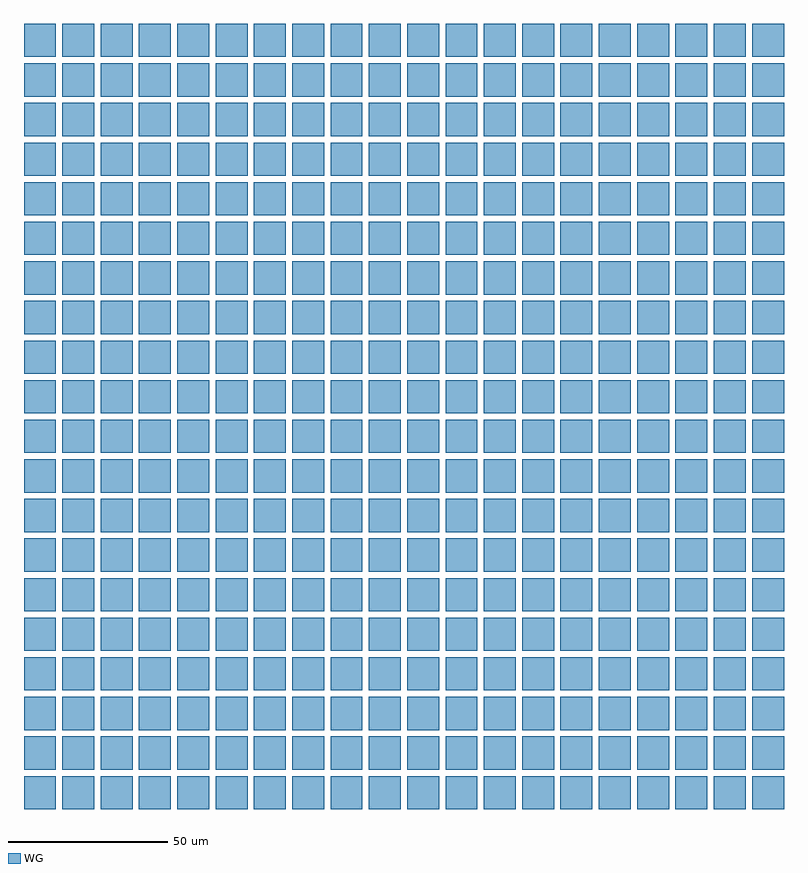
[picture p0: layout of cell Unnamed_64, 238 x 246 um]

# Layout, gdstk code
import gdstk
lib = gdstk.Library(unit=1e-6, precision=1e-09)
def R(c, l, rs):  # rectangles x0, y0, x1, y1
    for r in rs: c.add(gdstk.rectangle(r[:2], r[2:], *l))
WG = (1, 0)

rectangle_s10_10p4_l1_0_ = lib.new_cell('rectangle_S10_10p4_L1_0_93902f6c')
R(rectangle_s10_10p4_l1_0_, WG, [(0,0,10,10.4)])

unnamed_64 = lib.new_cell('Unnamed_64')
unnamed_64.add(gdstk.Reference(rectangle_s10_10p4_l1_0_, (1153.846,2)))
unnamed_64.add(gdstk.Reference(rectangle_s10_10p4_l1_0_, (1165.846,2)))
unnamed_64.add(gdstk.Reference(rectangle_s10_10p4_l1_0_, (1177.846,2)))
unnamed_64.add(gdstk.Reference(rectangle_s10_10p4_l1_0_, (1189.846,2)))
unnamed_64.add(gdstk.Reference(rectangle_s10_10p4_l1_0_, (1201.846,2)))
unnamed_64.add(gdstk.Reference(rectangle_s10_10p4_l1_0_, (1213.846,2)))
unnamed_64.add(gdstk.Reference(rectangle_s10_10p4_l1_0_, (1225.846,2)))
unnamed_64.add(gdstk.Reference(rectangle_s10_10p4_l1_0_, (1237.846,2)))
unnamed_64.add(gdstk.Reference(rectangle_s10_10p4_l1_0_, (1249.846,2)))
unnamed_64.add(gdstk.Reference(rectangle_s10_10p4_l1_0_, (1261.846,2)))
unnamed_64.add(gdstk.Reference(rectangle_s10_10p4_l1_0_, (1273.846,2)))
unnamed_64.add(gdstk.Reference(rectangle_s10_10p4_l1_0_, (1285.846,2)))
unnamed_64.add(gdstk.Reference(rectangle_s10_10p4_l1_0_, (1297.846,2)))
unnamed_64.add(gdstk.Reference(rectangle_s10_10p4_l1_0_, (1309.846,2)))
unnamed_64.add(gdstk.Reference(rectangle_s10_10p4_l1_0_, (1321.846,2)))
unnamed_64.add(gdstk.Reference(rectangle_s10_10p4_l1_0_, (1333.846,2)))
unnamed_64.add(gdstk.Reference(rectangle_s10_10p4_l1_0_, (1345.846,2)))
unnamed_64.add(gdstk.Reference(rectangle_s10_10p4_l1_0_, (1357.846,2)))
unnamed_64.add(gdstk.Reference(rectangle_s10_10p4_l1_0_, (1369.846,2)))
unnamed_64.add(gdstk.Reference(rectangle_s10_10p4_l1_0_, (1381.846,2)))
unnamed_64.add(gdstk.Reference(rectangle_s10_10p4_l1_0_, (1153.846,14.4)))
unnamed_64.add(gdstk.Reference(rectangle_s10_10p4_l1_0_, (1165.846,14.4)))
unnamed_64.add(gdstk.Reference(rectangle_s10_10p4_l1_0_, (1177.846,14.4)))
unnamed_64.add(gdstk.Reference(rectangle_s10_10p4_l1_0_, (1189.846,14.4)))
unnamed_64.add(gdstk.Reference(rectangle_s10_10p4_l1_0_, (1201.846,14.4)))
unnamed_64.add(gdstk.Reference(rectangle_s10_10p4_l1_0_, (1213.846,14.4)))
unnamed_64.add(gdstk.Reference(rectangle_s10_10p4_l1_0_, (1225.846,14.4)))
unnamed_64.add(gdstk.Reference(rectangle_s10_10p4_l1_0_, (1237.846,14.4)))
unnamed_64.add(gdstk.Reference(rectangle_s10_10p4_l1_0_, (1249.846,14.4)))
unnamed_64.add(gdstk.Reference(rectangle_s10_10p4_l1_0_, (1261.846,14.4)))
unnamed_64.add(gdstk.Reference(rectangle_s10_10p4_l1_0_, (1273.846,14.4)))
unnamed_64.add(gdstk.Reference(rectangle_s10_10p4_l1_0_, (1285.846,14.4)))
unnamed_64.add(gdstk.Reference(rectangle_s10_10p4_l1_0_, (1297.846,14.4)))
unnamed_64.add(gdstk.Reference(rectangle_s10_10p4_l1_0_, (1309.846,14.4)))
unnamed_64.add(gdstk.Reference(rectangle_s10_10p4_l1_0_, (1321.846,14.4)))
unnamed_64.add(gdstk.Reference(rectangle_s10_10p4_l1_0_, (1333.846,14.4)))
unnamed_64.add(gdstk.Reference(rectangle_s10_10p4_l1_0_, (1345.846,14.4)))
unnamed_64.add(gdstk.Reference(rectangle_s10_10p4_l1_0_, (1357.846,14.4)))
unnamed_64.add(gdstk.Reference(rectangle_s10_10p4_l1_0_, (1369.846,14.4)))
unnamed_64.add(gdstk.Reference(rectangle_s10_10p4_l1_0_, (1381.846,14.4)))
unnamed_64.add(gdstk.Reference(rectangle_s10_10p4_l1_0_, (1153.846,26.8)))
unnamed_64.add(gdstk.Reference(rectangle_s10_10p4_l1_0_, (1165.846,26.8)))
unnamed_64.add(gdstk.Reference(rectangle_s10_10p4_l1_0_, (1177.846,26.8)))
unnamed_64.add(gdstk.Reference(rectangle_s10_10p4_l1_0_, (1189.846,26.8)))
unnamed_64.add(gdstk.Reference(rectangle_s10_10p4_l1_0_, (1201.846,26.8)))
unnamed_64.add(gdstk.Reference(rectangle_s10_10p4_l1_0_, (1213.846,26.8)))
unnamed_64.add(gdstk.Reference(rectangle_s10_10p4_l1_0_, (1225.846,26.8)))
unnamed_64.add(gdstk.Reference(rectangle_s10_10p4_l1_0_, (1237.846,26.8)))
unnamed_64.add(gdstk.Reference(rectangle_s10_10p4_l1_0_, (1249.846,26.8)))
unnamed_64.add(gdstk.Reference(rectangle_s10_10p4_l1_0_, (1261.846,26.8)))
unnamed_64.add(gdstk.Reference(rectangle_s10_10p4_l1_0_, (1273.846,26.8)))
unnamed_64.add(gdstk.Reference(rectangle_s10_10p4_l1_0_, (1285.846,26.8)))
unnamed_64.add(gdstk.Reference(rectangle_s10_10p4_l1_0_, (1297.846,26.8)))
unnamed_64.add(gdstk.Reference(rectangle_s10_10p4_l1_0_, (1309.846,26.8)))
unnamed_64.add(gdstk.Reference(rectangle_s10_10p4_l1_0_, (1321.846,26.8)))
unnamed_64.add(gdstk.Reference(rectangle_s10_10p4_l1_0_, (1333.846,26.8)))
unnamed_64.add(gdstk.Reference(rectangle_s10_10p4_l1_0_, (1345.846,26.8)))
unnamed_64.add(gdstk.Reference(rectangle_s10_10p4_l1_0_, (1357.846,26.8)))
unnamed_64.add(gdstk.Reference(rectangle_s10_10p4_l1_0_, (1369.846,26.8)))
unnamed_64.add(gdstk.Reference(rectangle_s10_10p4_l1_0_, (1381.846,26.8)))
unnamed_64.add(gdstk.Reference(rectangle_s10_10p4_l1_0_, (1153.846,39.2)))
unnamed_64.add(gdstk.Reference(rectangle_s10_10p4_l1_0_, (1165.846,39.2)))
unnamed_64.add(gdstk.Reference(rectangle_s10_10p4_l1_0_, (1177.846,39.2)))
unnamed_64.add(gdstk.Reference(rectangle_s10_10p4_l1_0_, (1189.846,39.2)))
unnamed_64.add(gdstk.Reference(rectangle_s10_10p4_l1_0_, (1201.846,39.2)))
unnamed_64.add(gdstk.Reference(rectangle_s10_10p4_l1_0_, (1213.846,39.2)))
unnamed_64.add(gdstk.Reference(rectangle_s10_10p4_l1_0_, (1225.846,39.2)))
unnamed_64.add(gdstk.Reference(rectangle_s10_10p4_l1_0_, (1237.846,39.2)))
unnamed_64.add(gdstk.Reference(rectangle_s10_10p4_l1_0_, (1249.846,39.2)))
unnamed_64.add(gdstk.Reference(rectangle_s10_10p4_l1_0_, (1261.846,39.2)))
unnamed_64.add(gdstk.Reference(rectangle_s10_10p4_l1_0_, (1273.846,39.2)))
unnamed_64.add(gdstk.Reference(rectangle_s10_10p4_l1_0_, (1285.846,39.2)))
unnamed_64.add(gdstk.Reference(rectangle_s10_10p4_l1_0_, (1297.846,39.2)))
unnamed_64.add(gdstk.Reference(rectangle_s10_10p4_l1_0_, (1309.846,39.2)))
unnamed_64.add(gdstk.Reference(rectangle_s10_10p4_l1_0_, (1321.846,39.2)))
unnamed_64.add(gdstk.Reference(rectangle_s10_10p4_l1_0_, (1333.846,39.2)))
unnamed_64.add(gdstk.Reference(rectangle_s10_10p4_l1_0_, (1345.846,39.2)))
unnamed_64.add(gdstk.Reference(rectangle_s10_10p4_l1_0_, (1357.846,39.2)))
unnamed_64.add(gdstk.Reference(rectangle_s10_10p4_l1_0_, (1369.846,39.2)))
unnamed_64.add(gdstk.Reference(rectangle_s10_10p4_l1_0_, (1381.846,39.2)))
unnamed_64.add(gdstk.Reference(rectangle_s10_10p4_l1_0_, (1153.846,51.6)))
unnamed_64.add(gdstk.Reference(rectangle_s10_10p4_l1_0_, (1165.846,51.6)))
unnamed_64.add(gdstk.Reference(rectangle_s10_10p4_l1_0_, (1177.846,51.6)))
unnamed_64.add(gdstk.Reference(rectangle_s10_10p4_l1_0_, (1189.846,51.6)))
unnamed_64.add(gdstk.Reference(rectangle_s10_10p4_l1_0_, (1201.846,51.6)))
unnamed_64.add(gdstk.Reference(rectangle_s10_10p4_l1_0_, (1213.846,51.6)))
unnamed_64.add(gdstk.Reference(rectangle_s10_10p4_l1_0_, (1225.846,51.6)))
unnamed_64.add(gdstk.Reference(rectangle_s10_10p4_l1_0_, (1237.846,51.6)))
unnamed_64.add(gdstk.Reference(rectangle_s10_10p4_l1_0_, (1249.846,51.6)))
unnamed_64.add(gdstk.Reference(rectangle_s10_10p4_l1_0_, (1261.846,51.6)))
unnamed_64.add(gdstk.Reference(rectangle_s10_10p4_l1_0_, (1273.846,51.6)))
unnamed_64.add(gdstk.Reference(rectangle_s10_10p4_l1_0_, (1285.846,51.6)))
unnamed_64.add(gdstk.Reference(rectangle_s10_10p4_l1_0_, (1297.846,51.6)))
unnamed_64.add(gdstk.Reference(rectangle_s10_10p4_l1_0_, (1309.846,51.6)))
unnamed_64.add(gdstk.Reference(rectangle_s10_10p4_l1_0_, (1321.846,51.6)))
unnamed_64.add(gdstk.Reference(rectangle_s10_10p4_l1_0_, (1333.846,51.6)))
unnamed_64.add(gdstk.Reference(rectangle_s10_10p4_l1_0_, (1345.846,51.6)))
unnamed_64.add(gdstk.Reference(rectangle_s10_10p4_l1_0_, (1357.846,51.6)))
unnamed_64.add(gdstk.Reference(rectangle_s10_10p4_l1_0_, (1369.846,51.6)))
unnamed_64.add(gdstk.Reference(rectangle_s10_10p4_l1_0_, (1381.846,51.6)))
unnamed_64.add(gdstk.Reference(rectangle_s10_10p4_l1_0_, (1153.846,64)))
unnamed_64.add(gdstk.Reference(rectangle_s10_10p4_l1_0_, (1165.846,64)))
unnamed_64.add(gdstk.Reference(rectangle_s10_10p4_l1_0_, (1177.846,64)))
unnamed_64.add(gdstk.Reference(rectangle_s10_10p4_l1_0_, (1189.846,64)))
unnamed_64.add(gdstk.Reference(rectangle_s10_10p4_l1_0_, (1201.846,64)))
unnamed_64.add(gdstk.Reference(rectangle_s10_10p4_l1_0_, (1213.846,64)))
unnamed_64.add(gdstk.Reference(rectangle_s10_10p4_l1_0_, (1225.846,64)))
unnamed_64.add(gdstk.Reference(rectangle_s10_10p4_l1_0_, (1237.846,64)))
unnamed_64.add(gdstk.Reference(rectangle_s10_10p4_l1_0_, (1249.846,64)))
unnamed_64.add(gdstk.Reference(rectangle_s10_10p4_l1_0_, (1261.846,64)))
unnamed_64.add(gdstk.Reference(rectangle_s10_10p4_l1_0_, (1273.846,64)))
unnamed_64.add(gdstk.Reference(rectangle_s10_10p4_l1_0_, (1285.846,64)))
unnamed_64.add(gdstk.Reference(rectangle_s10_10p4_l1_0_, (1297.846,64)))
unnamed_64.add(gdstk.Reference(rectangle_s10_10p4_l1_0_, (1309.846,64)))
unnamed_64.add(gdstk.Reference(rectangle_s10_10p4_l1_0_, (1321.846,64)))
unnamed_64.add(gdstk.Reference(rectangle_s10_10p4_l1_0_, (1333.846,64)))
unnamed_64.add(gdstk.Reference(rectangle_s10_10p4_l1_0_, (1345.846,64)))
unnamed_64.add(gdstk.Reference(rectangle_s10_10p4_l1_0_, (1357.846,64)))
unnamed_64.add(gdstk.Reference(rectangle_s10_10p4_l1_0_, (1369.846,64)))
unnamed_64.add(gdstk.Reference(rectangle_s10_10p4_l1_0_, (1381.846,64)))
unnamed_64.add(gdstk.Reference(rectangle_s10_10p4_l1_0_, (1153.846,76.4)))
unnamed_64.add(gdstk.Reference(rectangle_s10_10p4_l1_0_, (1165.846,76.4)))
unnamed_64.add(gdstk.Reference(rectangle_s10_10p4_l1_0_, (1177.846,76.4)))
unnamed_64.add(gdstk.Reference(rectangle_s10_10p4_l1_0_, (1189.846,76.4)))
unnamed_64.add(gdstk.Reference(rectangle_s10_10p4_l1_0_, (1201.846,76.4)))
unnamed_64.add(gdstk.Reference(rectangle_s10_10p4_l1_0_, (1213.846,76.4)))
unnamed_64.add(gdstk.Reference(rectangle_s10_10p4_l1_0_, (1225.846,76.4)))
unnamed_64.add(gdstk.Reference(rectangle_s10_10p4_l1_0_, (1237.846,76.4)))
unnamed_64.add(gdstk.Reference(rectangle_s10_10p4_l1_0_, (1249.846,76.4)))
unnamed_64.add(gdstk.Reference(rectangle_s10_10p4_l1_0_, (1261.846,76.4)))
unnamed_64.add(gdstk.Reference(rectangle_s10_10p4_l1_0_, (1273.846,76.4)))
unnamed_64.add(gdstk.Reference(rectangle_s10_10p4_l1_0_, (1285.846,76.4)))
unnamed_64.add(gdstk.Reference(rectangle_s10_10p4_l1_0_, (1297.846,76.4)))
unnamed_64.add(gdstk.Reference(rectangle_s10_10p4_l1_0_, (1309.846,76.4)))
unnamed_64.add(gdstk.Reference(rectangle_s10_10p4_l1_0_, (1321.846,76.4)))
unnamed_64.add(gdstk.Reference(rectangle_s10_10p4_l1_0_, (1333.846,76.4)))
unnamed_64.add(gdstk.Reference(rectangle_s10_10p4_l1_0_, (1345.846,76.4)))
unnamed_64.add(gdstk.Reference(rectangle_s10_10p4_l1_0_, (1357.846,76.4)))
unnamed_64.add(gdstk.Reference(rectangle_s10_10p4_l1_0_, (1369.846,76.4)))
unnamed_64.add(gdstk.Reference(rectangle_s10_10p4_l1_0_, (1381.846,76.4)))
unnamed_64.add(gdstk.Reference(rectangle_s10_10p4_l1_0_, (1153.846,88.8)))
unnamed_64.add(gdstk.Reference(rectangle_s10_10p4_l1_0_, (1165.846,88.8)))
unnamed_64.add(gdstk.Reference(rectangle_s10_10p4_l1_0_, (1177.846,88.8)))
unnamed_64.add(gdstk.Reference(rectangle_s10_10p4_l1_0_, (1189.846,88.8)))
unnamed_64.add(gdstk.Reference(rectangle_s10_10p4_l1_0_, (1201.846,88.8)))
unnamed_64.add(gdstk.Reference(rectangle_s10_10p4_l1_0_, (1213.846,88.8)))
unnamed_64.add(gdstk.Reference(rectangle_s10_10p4_l1_0_, (1225.846,88.8)))
unnamed_64.add(gdstk.Reference(rectangle_s10_10p4_l1_0_, (1237.846,88.8)))
unnamed_64.add(gdstk.Reference(rectangle_s10_10p4_l1_0_, (1249.846,88.8)))
unnamed_64.add(gdstk.Reference(rectangle_s10_10p4_l1_0_, (1261.846,88.8)))
unnamed_64.add(gdstk.Reference(rectangle_s10_10p4_l1_0_, (1273.846,88.8)))
unnamed_64.add(gdstk.Reference(rectangle_s10_10p4_l1_0_, (1285.846,88.8)))
unnamed_64.add(gdstk.Reference(rectangle_s10_10p4_l1_0_, (1297.846,88.8)))
unnamed_64.add(gdstk.Reference(rectangle_s10_10p4_l1_0_, (1309.846,88.8)))
unnamed_64.add(gdstk.Reference(rectangle_s10_10p4_l1_0_, (1321.846,88.8)))
unnamed_64.add(gdstk.Reference(rectangle_s10_10p4_l1_0_, (1333.846,88.8)))
unnamed_64.add(gdstk.Reference(rectangle_s10_10p4_l1_0_, (1345.846,88.8)))
unnamed_64.add(gdstk.Reference(rectangle_s10_10p4_l1_0_, (1357.846,88.8)))
unnamed_64.add(gdstk.Reference(rectangle_s10_10p4_l1_0_, (1369.846,88.8)))
unnamed_64.add(gdstk.Reference(rectangle_s10_10p4_l1_0_, (1381.846,88.8)))
unnamed_64.add(gdstk.Reference(rectangle_s10_10p4_l1_0_, (1153.846,101.2)))
unnamed_64.add(gdstk.Reference(rectangle_s10_10p4_l1_0_, (1165.846,101.2)))
unnamed_64.add(gdstk.Reference(rectangle_s10_10p4_l1_0_, (1177.846,101.2)))
unnamed_64.add(gdstk.Reference(rectangle_s10_10p4_l1_0_, (1189.846,101.2)))
unnamed_64.add(gdstk.Reference(rectangle_s10_10p4_l1_0_, (1201.846,101.2)))
unnamed_64.add(gdstk.Reference(rectangle_s10_10p4_l1_0_, (1213.846,101.2)))
unnamed_64.add(gdstk.Reference(rectangle_s10_10p4_l1_0_, (1225.846,101.2)))
unnamed_64.add(gdstk.Reference(rectangle_s10_10p4_l1_0_, (1237.846,101.2)))
unnamed_64.add(gdstk.Reference(rectangle_s10_10p4_l1_0_, (1249.846,101.2)))
unnamed_64.add(gdstk.Reference(rectangle_s10_10p4_l1_0_, (1261.846,101.2)))
unnamed_64.add(gdstk.Reference(rectangle_s10_10p4_l1_0_, (1273.846,101.2)))
unnamed_64.add(gdstk.Reference(rectangle_s10_10p4_l1_0_, (1285.846,101.2)))
unnamed_64.add(gdstk.Reference(rectangle_s10_10p4_l1_0_, (1297.846,101.2)))
unnamed_64.add(gdstk.Reference(rectangle_s10_10p4_l1_0_, (1309.846,101.2)))
unnamed_64.add(gdstk.Reference(rectangle_s10_10p4_l1_0_, (1321.846,101.2)))
unnamed_64.add(gdstk.Reference(rectangle_s10_10p4_l1_0_, (1333.846,101.2)))
unnamed_64.add(gdstk.Reference(rectangle_s10_10p4_l1_0_, (1345.846,101.2)))
unnamed_64.add(gdstk.Reference(rectangle_s10_10p4_l1_0_, (1357.846,101.2)))
unnamed_64.add(gdstk.Reference(rectangle_s10_10p4_l1_0_, (1369.846,101.2)))
unnamed_64.add(gdstk.Reference(rectangle_s10_10p4_l1_0_, (1381.846,101.2)))
unnamed_64.add(gdstk.Reference(rectangle_s10_10p4_l1_0_, (1153.846,113.6)))
unnamed_64.add(gdstk.Reference(rectangle_s10_10p4_l1_0_, (1165.846,113.6)))
unnamed_64.add(gdstk.Reference(rectangle_s10_10p4_l1_0_, (1177.846,113.6)))
unnamed_64.add(gdstk.Reference(rectangle_s10_10p4_l1_0_, (1189.846,113.6)))
unnamed_64.add(gdstk.Reference(rectangle_s10_10p4_l1_0_, (1201.846,113.6)))
unnamed_64.add(gdstk.Reference(rectangle_s10_10p4_l1_0_, (1213.846,113.6)))
unnamed_64.add(gdstk.Reference(rectangle_s10_10p4_l1_0_, (1225.846,113.6)))
unnamed_64.add(gdstk.Reference(rectangle_s10_10p4_l1_0_, (1237.846,113.6)))
unnamed_64.add(gdstk.Reference(rectangle_s10_10p4_l1_0_, (1249.846,113.6)))
unnamed_64.add(gdstk.Reference(rectangle_s10_10p4_l1_0_, (1261.846,113.6)))
unnamed_64.add(gdstk.Reference(rectangle_s10_10p4_l1_0_, (1273.846,113.6)))
unnamed_64.add(gdstk.Reference(rectangle_s10_10p4_l1_0_, (1285.846,113.6)))
unnamed_64.add(gdstk.Reference(rectangle_s10_10p4_l1_0_, (1297.846,113.6)))
unnamed_64.add(gdstk.Reference(rectangle_s10_10p4_l1_0_, (1309.846,113.6)))
unnamed_64.add(gdstk.Reference(rectangle_s10_10p4_l1_0_, (1321.846,113.6)))
unnamed_64.add(gdstk.Reference(rectangle_s10_10p4_l1_0_, (1333.846,113.6)))
unnamed_64.add(gdstk.Reference(rectangle_s10_10p4_l1_0_, (1345.846,113.6)))
unnamed_64.add(gdstk.Reference(rectangle_s10_10p4_l1_0_, (1357.846,113.6)))
unnamed_64.add(gdstk.Reference(rectangle_s10_10p4_l1_0_, (1369.846,113.6)))
unnamed_64.add(gdstk.Reference(rectangle_s10_10p4_l1_0_, (1381.846,113.6)))
unnamed_64.add(gdstk.Reference(rectangle_s10_10p4_l1_0_, (1153.846,126)))
unnamed_64.add(gdstk.Reference(rectangle_s10_10p4_l1_0_, (1165.846,126)))
unnamed_64.add(gdstk.Reference(rectangle_s10_10p4_l1_0_, (1177.846,126)))
unnamed_64.add(gdstk.Reference(rectangle_s10_10p4_l1_0_, (1189.846,126)))
unnamed_64.add(gdstk.Reference(rectangle_s10_10p4_l1_0_, (1201.846,126)))
unnamed_64.add(gdstk.Reference(rectangle_s10_10p4_l1_0_, (1213.846,126)))
unnamed_64.add(gdstk.Reference(rectangle_s10_10p4_l1_0_, (1225.846,126)))
unnamed_64.add(gdstk.Reference(rectangle_s10_10p4_l1_0_, (1237.846,126)))
unnamed_64.add(gdstk.Reference(rectangle_s10_10p4_l1_0_, (1249.846,126)))
unnamed_64.add(gdstk.Reference(rectangle_s10_10p4_l1_0_, (1261.846,126)))
unnamed_64.add(gdstk.Reference(rectangle_s10_10p4_l1_0_, (1273.846,126)))
unnamed_64.add(gdstk.Reference(rectangle_s10_10p4_l1_0_, (1285.846,126)))
unnamed_64.add(gdstk.Reference(rectangle_s10_10p4_l1_0_, (1297.846,126)))
unnamed_64.add(gdstk.Reference(rectangle_s10_10p4_l1_0_, (1309.846,126)))
unnamed_64.add(gdstk.Reference(rectangle_s10_10p4_l1_0_, (1321.846,126)))
unnamed_64.add(gdstk.Reference(rectangle_s10_10p4_l1_0_, (1333.846,126)))
unnamed_64.add(gdstk.Reference(rectangle_s10_10p4_l1_0_, (1345.846,126)))
unnamed_64.add(gdstk.Reference(rectangle_s10_10p4_l1_0_, (1357.846,126)))
unnamed_64.add(gdstk.Reference(rectangle_s10_10p4_l1_0_, (1369.846,126)))
unnamed_64.add(gdstk.Reference(rectangle_s10_10p4_l1_0_, (1381.846,126)))
unnamed_64.add(gdstk.Reference(rectangle_s10_10p4_l1_0_, (1153.846,138.4)))
unnamed_64.add(gdstk.Reference(rectangle_s10_10p4_l1_0_, (1165.846,138.4)))
unnamed_64.add(gdstk.Reference(rectangle_s10_10p4_l1_0_, (1177.846,138.4)))
unnamed_64.add(gdstk.Reference(rectangle_s10_10p4_l1_0_, (1189.846,138.4)))
unnamed_64.add(gdstk.Reference(rectangle_s10_10p4_l1_0_, (1201.846,138.4)))
unnamed_64.add(gdstk.Reference(rectangle_s10_10p4_l1_0_, (1213.846,138.4)))
unnamed_64.add(gdstk.Reference(rectangle_s10_10p4_l1_0_, (1225.846,138.4)))
unnamed_64.add(gdstk.Reference(rectangle_s10_10p4_l1_0_, (1237.846,138.4)))
unnamed_64.add(gdstk.Reference(rectangle_s10_10p4_l1_0_, (1249.846,138.4)))
unnamed_64.add(gdstk.Reference(rectangle_s10_10p4_l1_0_, (1261.846,138.4)))
unnamed_64.add(gdstk.Reference(rectangle_s10_10p4_l1_0_, (1273.846,138.4)))
unnamed_64.add(gdstk.Reference(rectangle_s10_10p4_l1_0_, (1285.846,138.4)))
unnamed_64.add(gdstk.Reference(rectangle_s10_10p4_l1_0_, (1297.846,138.4)))
unnamed_64.add(gdstk.Reference(rectangle_s10_10p4_l1_0_, (1309.846,138.4)))
unnamed_64.add(gdstk.Reference(rectangle_s10_10p4_l1_0_, (1321.846,138.4)))
unnamed_64.add(gdstk.Reference(rectangle_s10_10p4_l1_0_, (1333.846,138.4)))
unnamed_64.add(gdstk.Reference(rectangle_s10_10p4_l1_0_, (1345.846,138.4)))
unnamed_64.add(gdstk.Reference(rectangle_s10_10p4_l1_0_, (1357.846,138.4)))
unnamed_64.add(gdstk.Reference(rectangle_s10_10p4_l1_0_, (1369.846,138.4)))
unnamed_64.add(gdstk.Reference(rectangle_s10_10p4_l1_0_, (1381.846,138.4)))
unnamed_64.add(gdstk.Reference(rectangle_s10_10p4_l1_0_, (1153.846,150.8)))
unnamed_64.add(gdstk.Reference(rectangle_s10_10p4_l1_0_, (1165.846,150.8)))
unnamed_64.add(gdstk.Reference(rectangle_s10_10p4_l1_0_, (1177.846,150.8)))
unnamed_64.add(gdstk.Reference(rectangle_s10_10p4_l1_0_, (1189.846,150.8)))
unnamed_64.add(gdstk.Reference(rectangle_s10_10p4_l1_0_, (1201.846,150.8)))
unnamed_64.add(gdstk.Reference(rectangle_s10_10p4_l1_0_, (1213.846,150.8)))
unnamed_64.add(gdstk.Reference(rectangle_s10_10p4_l1_0_, (1225.846,150.8)))
unnamed_64.add(gdstk.Reference(rectangle_s10_10p4_l1_0_, (1237.846,150.8)))
unnamed_64.add(gdstk.Reference(rectangle_s10_10p4_l1_0_, (1249.846,150.8)))
unnamed_64.add(gdstk.Reference(rectangle_s10_10p4_l1_0_, (1261.846,150.8)))
unnamed_64.add(gdstk.Reference(rectangle_s10_10p4_l1_0_, (1273.846,150.8)))
unnamed_64.add(gdstk.Reference(rectangle_s10_10p4_l1_0_, (1285.846,150.8)))
unnamed_64.add(gdstk.Reference(rectangle_s10_10p4_l1_0_, (1297.846,150.8)))
unnamed_64.add(gdstk.Reference(rectangle_s10_10p4_l1_0_, (1309.846,150.8)))
unnamed_64.add(gdstk.Reference(rectangle_s10_10p4_l1_0_, (1321.846,150.8)))
unnamed_64.add(gdstk.Reference(rectangle_s10_10p4_l1_0_, (1333.846,150.8)))
unnamed_64.add(gdstk.Reference(rectangle_s10_10p4_l1_0_, (1345.846,150.8)))
unnamed_64.add(gdstk.Reference(rectangle_s10_10p4_l1_0_, (1357.846,150.8)))
unnamed_64.add(gdstk.Reference(rectangle_s10_10p4_l1_0_, (1369.846,150.8)))
unnamed_64.add(gdstk.Reference(rectangle_s10_10p4_l1_0_, (1381.846,150.8)))
unnamed_64.add(gdstk.Reference(rectangle_s10_10p4_l1_0_, (1153.846,163.2)))
unnamed_64.add(gdstk.Reference(rectangle_s10_10p4_l1_0_, (1165.846,163.2)))
unnamed_64.add(gdstk.Reference(rectangle_s10_10p4_l1_0_, (1177.846,163.2)))
unnamed_64.add(gdstk.Reference(rectangle_s10_10p4_l1_0_, (1189.846,163.2)))
unnamed_64.add(gdstk.Reference(rectangle_s10_10p4_l1_0_, (1201.846,163.2)))
unnamed_64.add(gdstk.Reference(rectangle_s10_10p4_l1_0_, (1213.846,163.2)))
unnamed_64.add(gdstk.Reference(rectangle_s10_10p4_l1_0_, (1225.846,163.2)))
unnamed_64.add(gdstk.Reference(rectangle_s10_10p4_l1_0_, (1237.846,163.2)))
unnamed_64.add(gdstk.Reference(rectangle_s10_10p4_l1_0_, (1249.846,163.2)))
unnamed_64.add(gdstk.Reference(rectangle_s10_10p4_l1_0_, (1261.846,163.2)))
unnamed_64.add(gdstk.Reference(rectangle_s10_10p4_l1_0_, (1273.846,163.2)))
unnamed_64.add(gdstk.Reference(rectangle_s10_10p4_l1_0_, (1285.846,163.2)))
unnamed_64.add(gdstk.Reference(rectangle_s10_10p4_l1_0_, (1297.846,163.2)))
unnamed_64.add(gdstk.Reference(rectangle_s10_10p4_l1_0_, (1309.846,163.2)))
unnamed_64.add(gdstk.Reference(rectangle_s10_10p4_l1_0_, (1321.846,163.2)))
unnamed_64.add(gdstk.Reference(rectangle_s10_10p4_l1_0_, (1333.846,163.2)))
unnamed_64.add(gdstk.Reference(rectangle_s10_10p4_l1_0_, (1345.846,163.2)))
unnamed_64.add(gdstk.Reference(rectangle_s10_10p4_l1_0_, (1357.846,163.2)))
unnamed_64.add(gdstk.Reference(rectangle_s10_10p4_l1_0_, (1369.846,163.2)))
unnamed_64.add(gdstk.Reference(rectangle_s10_10p4_l1_0_, (1381.846,163.2)))
unnamed_64.add(gdstk.Reference(rectangle_s10_10p4_l1_0_, (1153.846,175.6)))
unnamed_64.add(gdstk.Reference(rectangle_s10_10p4_l1_0_, (1165.846,175.6)))
unnamed_64.add(gdstk.Reference(rectangle_s10_10p4_l1_0_, (1177.846,175.6)))
unnamed_64.add(gdstk.Reference(rectangle_s10_10p4_l1_0_, (1189.846,175.6)))
unnamed_64.add(gdstk.Reference(rectangle_s10_10p4_l1_0_, (1201.846,175.6)))
unnamed_64.add(gdstk.Reference(rectangle_s10_10p4_l1_0_, (1213.846,175.6)))
unnamed_64.add(gdstk.Reference(rectangle_s10_10p4_l1_0_, (1225.846,175.6)))
unnamed_64.add(gdstk.Reference(rectangle_s10_10p4_l1_0_, (1237.846,175.6)))
unnamed_64.add(gdstk.Reference(rectangle_s10_10p4_l1_0_, (1249.846,175.6)))
unnamed_64.add(gdstk.Reference(rectangle_s10_10p4_l1_0_, (1261.846,175.6)))
unnamed_64.add(gdstk.Reference(rectangle_s10_10p4_l1_0_, (1273.846,175.6)))
unnamed_64.add(gdstk.Reference(rectangle_s10_10p4_l1_0_, (1285.846,175.6)))
unnamed_64.add(gdstk.Reference(rectangle_s10_10p4_l1_0_, (1297.846,175.6)))
unnamed_64.add(gdstk.Reference(rectangle_s10_10p4_l1_0_, (1309.846,175.6)))
unnamed_64.add(gdstk.Reference(rectangle_s10_10p4_l1_0_, (1321.846,175.6)))
unnamed_64.add(gdstk.Reference(rectangle_s10_10p4_l1_0_, (1333.846,175.6)))
unnamed_64.add(gdstk.Reference(rectangle_s10_10p4_l1_0_, (1345.846,175.6)))
unnamed_64.add(gdstk.Reference(rectangle_s10_10p4_l1_0_, (1357.846,175.6)))
unnamed_64.add(gdstk.Reference(rectangle_s10_10p4_l1_0_, (1369.846,175.6)))
unnamed_64.add(gdstk.Reference(rectangle_s10_10p4_l1_0_, (1381.846,175.6)))
unnamed_64.add(gdstk.Reference(rectangle_s10_10p4_l1_0_, (1153.846,188)))
unnamed_64.add(gdstk.Reference(rectangle_s10_10p4_l1_0_, (1165.846,188)))
unnamed_64.add(gdstk.Reference(rectangle_s10_10p4_l1_0_, (1177.846,188)))
unnamed_64.add(gdstk.Reference(rectangle_s10_10p4_l1_0_, (1189.846,188)))
unnamed_64.add(gdstk.Reference(rectangle_s10_10p4_l1_0_, (1201.846,188)))
unnamed_64.add(gdstk.Reference(rectangle_s10_10p4_l1_0_, (1213.846,188)))
unnamed_64.add(gdstk.Reference(rectangle_s10_10p4_l1_0_, (1225.846,188)))
unnamed_64.add(gdstk.Reference(rectangle_s10_10p4_l1_0_, (1237.846,188)))
unnamed_64.add(gdstk.Reference(rectangle_s10_10p4_l1_0_, (1249.846,188)))
unnamed_64.add(gdstk.Reference(rectangle_s10_10p4_l1_0_, (1261.846,188)))
unnamed_64.add(gdstk.Reference(rectangle_s10_10p4_l1_0_, (1273.846,188)))
unnamed_64.add(gdstk.Reference(rectangle_s10_10p4_l1_0_, (1285.846,188)))
unnamed_64.add(gdstk.Reference(rectangle_s10_10p4_l1_0_, (1297.846,188)))
unnamed_64.add(gdstk.Reference(rectangle_s10_10p4_l1_0_, (1309.846,188)))
unnamed_64.add(gdstk.Reference(rectangle_s10_10p4_l1_0_, (1321.846,188)))
unnamed_64.add(gdstk.Reference(rectangle_s10_10p4_l1_0_, (1333.846,188)))
unnamed_64.add(gdstk.Reference(rectangle_s10_10p4_l1_0_, (1345.846,188)))
unnamed_64.add(gdstk.Reference(rectangle_s10_10p4_l1_0_, (1357.846,188)))
unnamed_64.add(gdstk.Reference(rectangle_s10_10p4_l1_0_, (1369.846,188)))
unnamed_64.add(gdstk.Reference(rectangle_s10_10p4_l1_0_, (1381.846,188)))
unnamed_64.add(gdstk.Reference(rectangle_s10_10p4_l1_0_, (1153.846,200.4)))
unnamed_64.add(gdstk.Reference(rectangle_s10_10p4_l1_0_, (1165.846,200.4)))
unnamed_64.add(gdstk.Reference(rectangle_s10_10p4_l1_0_, (1177.846,200.4)))
unnamed_64.add(gdstk.Reference(rectangle_s10_10p4_l1_0_, (1189.846,200.4)))
unnamed_64.add(gdstk.Reference(rectangle_s10_10p4_l1_0_, (1201.846,200.4)))
unnamed_64.add(gdstk.Reference(rectangle_s10_10p4_l1_0_, (1213.846,200.4)))
unnamed_64.add(gdstk.Reference(rectangle_s10_10p4_l1_0_, (1225.846,200.4)))
unnamed_64.add(gdstk.Reference(rectangle_s10_10p4_l1_0_, (1237.846,200.4)))
unnamed_64.add(gdstk.Reference(rectangle_s10_10p4_l1_0_, (1249.846,200.4)))
unnamed_64.add(gdstk.Reference(rectangle_s10_10p4_l1_0_, (1261.846,200.4)))
unnamed_64.add(gdstk.Reference(rectangle_s10_10p4_l1_0_, (1273.846,200.4)))
unnamed_64.add(gdstk.Reference(rectangle_s10_10p4_l1_0_, (1285.846,200.4)))
unnamed_64.add(gdstk.Reference(rectangle_s10_10p4_l1_0_, (1297.846,200.4)))
unnamed_64.add(gdstk.Reference(rectangle_s10_10p4_l1_0_, (1309.846,200.4)))
unnamed_64.add(gdstk.Reference(rectangle_s10_10p4_l1_0_, (1321.846,200.4)))
unnamed_64.add(gdstk.Reference(rectangle_s10_10p4_l1_0_, (1333.846,200.4)))
unnamed_64.add(gdstk.Reference(rectangle_s10_10p4_l1_0_, (1345.846,200.4)))
unnamed_64.add(gdstk.Reference(rectangle_s10_10p4_l1_0_, (1357.846,200.4)))
unnamed_64.add(gdstk.Reference(rectangle_s10_10p4_l1_0_, (1369.846,200.4)))
unnamed_64.add(gdstk.Reference(rectangle_s10_10p4_l1_0_, (1381.846,200.4)))
unnamed_64.add(gdstk.Reference(rectangle_s10_10p4_l1_0_, (1153.846,212.8)))
unnamed_64.add(gdstk.Reference(rectangle_s10_10p4_l1_0_, (1165.846,212.8)))
unnamed_64.add(gdstk.Reference(rectangle_s10_10p4_l1_0_, (1177.846,212.8)))
unnamed_64.add(gdstk.Reference(rectangle_s10_10p4_l1_0_, (1189.846,212.8)))
unnamed_64.add(gdstk.Reference(rectangle_s10_10p4_l1_0_, (1201.846,212.8)))
unnamed_64.add(gdstk.Reference(rectangle_s10_10p4_l1_0_, (1213.846,212.8)))
unnamed_64.add(gdstk.Reference(rectangle_s10_10p4_l1_0_, (1225.846,212.8)))
unnamed_64.add(gdstk.Reference(rectangle_s10_10p4_l1_0_, (1237.846,212.8)))
unnamed_64.add(gdstk.Reference(rectangle_s10_10p4_l1_0_, (1249.846,212.8)))
unnamed_64.add(gdstk.Reference(rectangle_s10_10p4_l1_0_, (1261.846,212.8)))
unnamed_64.add(gdstk.Reference(rectangle_s10_10p4_l1_0_, (1273.846,212.8)))
unnamed_64.add(gdstk.Reference(rectangle_s10_10p4_l1_0_, (1285.846,212.8)))
unnamed_64.add(gdstk.Reference(rectangle_s10_10p4_l1_0_, (1297.846,212.8)))
unnamed_64.add(gdstk.Reference(rectangle_s10_10p4_l1_0_, (1309.846,212.8)))
unnamed_64.add(gdstk.Reference(rectangle_s10_10p4_l1_0_, (1321.846,212.8)))
unnamed_64.add(gdstk.Reference(rectangle_s10_10p4_l1_0_, (1333.846,212.8)))
unnamed_64.add(gdstk.Reference(rectangle_s10_10p4_l1_0_, (1345.846,212.8)))
unnamed_64.add(gdstk.Reference(rectangle_s10_10p4_l1_0_, (1357.846,212.8)))
unnamed_64.add(gdstk.Reference(rectangle_s10_10p4_l1_0_, (1369.846,212.8)))
unnamed_64.add(gdstk.Reference(rectangle_s10_10p4_l1_0_, (1381.846,212.8)))
unnamed_64.add(gdstk.Reference(rectangle_s10_10p4_l1_0_, (1153.846,225.2)))
unnamed_64.add(gdstk.Reference(rectangle_s10_10p4_l1_0_, (1165.846,225.2)))
unnamed_64.add(gdstk.Reference(rectangle_s10_10p4_l1_0_, (1177.846,225.2)))
unnamed_64.add(gdstk.Reference(rectangle_s10_10p4_l1_0_, (1189.846,225.2)))
unnamed_64.add(gdstk.Reference(rectangle_s10_10p4_l1_0_, (1201.846,225.2)))
unnamed_64.add(gdstk.Reference(rectangle_s10_10p4_l1_0_, (1213.846,225.2)))
unnamed_64.add(gdstk.Reference(rectangle_s10_10p4_l1_0_, (1225.846,225.2)))
unnamed_64.add(gdstk.Reference(rectangle_s10_10p4_l1_0_, (1237.846,225.2)))
unnamed_64.add(gdstk.Reference(rectangle_s10_10p4_l1_0_, (1249.846,225.2)))
unnamed_64.add(gdstk.Reference(rectangle_s10_10p4_l1_0_, (1261.846,225.2)))
unnamed_64.add(gdstk.Reference(rectangle_s10_10p4_l1_0_, (1273.846,225.2)))
unnamed_64.add(gdstk.Reference(rectangle_s10_10p4_l1_0_, (1285.846,225.2)))
unnamed_64.add(gdstk.Reference(rectangle_s10_10p4_l1_0_, (1297.846,225.2)))
unnamed_64.add(gdstk.Reference(rectangle_s10_10p4_l1_0_, (1309.846,225.2)))
unnamed_64.add(gdstk.Reference(rectangle_s10_10p4_l1_0_, (1321.846,225.2)))
unnamed_64.add(gdstk.Reference(rectangle_s10_10p4_l1_0_, (1333.846,225.2)))
unnamed_64.add(gdstk.Reference(rectangle_s10_10p4_l1_0_, (1345.846,225.2)))
unnamed_64.add(gdstk.Reference(rectangle_s10_10p4_l1_0_, (1357.846,225.2)))
unnamed_64.add(gdstk.Reference(rectangle_s10_10p4_l1_0_, (1369.846,225.2)))
unnamed_64.add(gdstk.Reference(rectangle_s10_10p4_l1_0_, (1381.846,225.2)))
unnamed_64.add(gdstk.Reference(rectangle_s10_10p4_l1_0_, (1153.846,237.6)))
unnamed_64.add(gdstk.Reference(rectangle_s10_10p4_l1_0_, (1165.846,237.6)))
unnamed_64.add(gdstk.Reference(rectangle_s10_10p4_l1_0_, (1177.846,237.6)))
unnamed_64.add(gdstk.Reference(rectangle_s10_10p4_l1_0_, (1189.846,237.6)))
unnamed_64.add(gdstk.Reference(rectangle_s10_10p4_l1_0_, (1201.846,237.6)))
unnamed_64.add(gdstk.Reference(rectangle_s10_10p4_l1_0_, (1213.846,237.6)))
unnamed_64.add(gdstk.Reference(rectangle_s10_10p4_l1_0_, (1225.846,237.6)))
unnamed_64.add(gdstk.Reference(rectangle_s10_10p4_l1_0_, (1237.846,237.6)))
unnamed_64.add(gdstk.Reference(rectangle_s10_10p4_l1_0_, (1249.846,237.6)))
unnamed_64.add(gdstk.Reference(rectangle_s10_10p4_l1_0_, (1261.846,237.6)))
unnamed_64.add(gdstk.Reference(rectangle_s10_10p4_l1_0_, (1273.846,237.6)))
unnamed_64.add(gdstk.Reference(rectangle_s10_10p4_l1_0_, (1285.846,237.6)))
unnamed_64.add(gdstk.Reference(rectangle_s10_10p4_l1_0_, (1297.846,237.6)))
unnamed_64.add(gdstk.Reference(rectangle_s10_10p4_l1_0_, (1309.846,237.6)))
unnamed_64.add(gdstk.Reference(rectangle_s10_10p4_l1_0_, (1321.846,237.6)))
unnamed_64.add(gdstk.Reference(rectangle_s10_10p4_l1_0_, (1333.846,237.6)))
unnamed_64.add(gdstk.Reference(rectangle_s10_10p4_l1_0_, (1345.846,237.6)))
unnamed_64.add(gdstk.Reference(rectangle_s10_10p4_l1_0_, (1357.846,237.6)))
unnamed_64.add(gdstk.Reference(rectangle_s10_10p4_l1_0_, (1369.846,237.6)))
unnamed_64.add(gdstk.Reference(rectangle_s10_10p4_l1_0_, (1381.846,237.6)))

lib.write_gds('Unnamed_64.gds')
